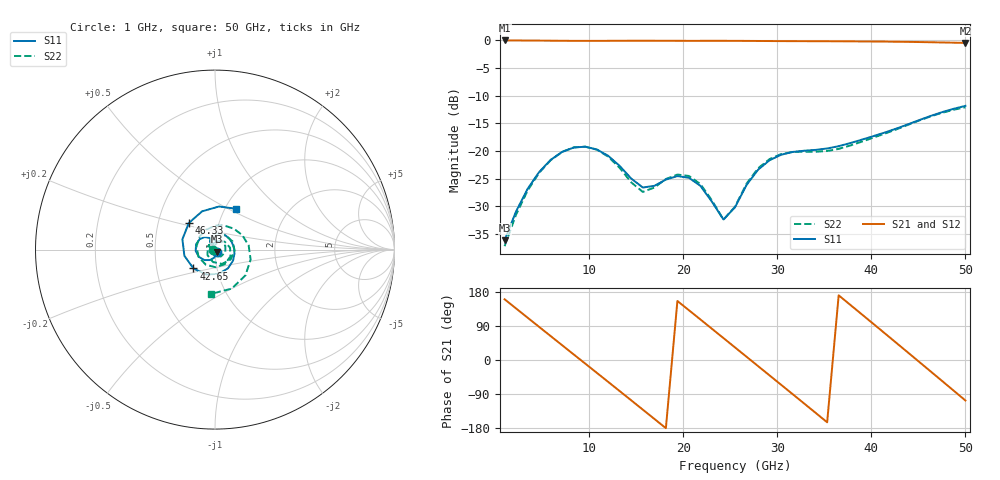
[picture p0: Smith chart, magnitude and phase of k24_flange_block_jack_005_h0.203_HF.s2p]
! Generated by Hertzon (EMerge FEM)
# HZ S RI R 50.9339
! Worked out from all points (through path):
!   41 points, 1 GHz to 50 GHz, reference 50.9339 ohm
!   highest |S21| = -0.01 dB at 1 GHz (marker M1); lowest = -0.5 dB at 50 GHz (marker M2)
!   lowest |S11| = -36.1 dB at 1 GHz (marker M3), VSWR 1.03, Z = 52.1 - j1.14 ohm
!   |S11| at or under -10 dB: start of sweep to end of sweep
!   |S22| runs from -37.2 to -12.1 dB; largest |S21 - S12| = 0.0037
!   S11 on the Smith chart (normalised r, x): 1 GHz: 1.02, -0.02; 42.65 GHz: 0.77, -0.17; 46.33 GHz: 0.72, +0.22; 50 GHz: 1.13, +0.55
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1e9  0.0113 -0.0109  -0.9392 0.3386  -0.939 0.3395  -0.0136 -0.0024
4.675e9  -0.0281 -0.0583  0.0467 0.9943  0.0479 0.994  -0.0221 0.0597
7.125e9  -0.0896 -0.0407  0.7724 0.6217  0.7733 0.6208  0.0587 0.0789
9.575e9  -0.1056 0.0289  0.9759 -0.1641  0.9758 -0.1654  0.1095 -0.00577
1.325e10  -0.0327 0.0656  0.1328 -0.9829  0.1315 -0.9831  -0.0115 -0.0693
1.57e10  -0.0207 0.042  -0.652 -0.7485  -0.6531 -0.7476  -0.0398 0.0157
1.815e10  -0.0268 0.0483  -0.9915 -0.00236  -0.9915 -0.000838  0.0311 0.0465
2.1825e10  0.00703 0.048  -0.2875 0.9481  -0.2859 0.9486  0.0327 -0.0383
2.4275e10  -0.00114 0.0241  0.5279 0.8386  0.5294 0.8376  -0.0222 -0.00914
2.55e10  -0.0159 0.0267  0.8286 0.5424  0.8296 0.5408  -0.0173 0.0262
2.795e10  -0.0207 0.0646  0.9492 -0.2729  0.9486 -0.2748  0.054 0.0443
3.04e10  0.0264 0.0888  0.4111 -0.8949  0.4092 -0.8958  0.0861 -0.0375
3.1625e10  0.0551 0.0813  -0.000174 -0.9839  -0.00238 -0.9839  0.0563 -0.0803
3.4075e10  0.0945 0.0397  -0.7477 -0.6377  -0.7492 -0.6359  -0.0512 -0.0843
3.6525e10  0.1086 -0.0219  -0.9681 0.1586  -0.9677 0.1611  -0.1035 0.0156
3.8975e10  0.0728 -0.1037  -0.4997 0.8411  -0.4974 0.8425  -0.0494 0.111
4.02e10  0.0214 -0.1346  -0.0961 0.972  -0.0933 0.9722  5.99e-05 0.1321
4.265e10  -0.1199 -0.1052  0.6837 0.6914  0.6859 0.6892  0.105 0.1167
4.51e10  -0.1815 0.058  0.9618 -0.0881  0.9616 -0.0913  0.1875 0.023
4.6325e10  -0.1458 0.1483  0.8281 -0.4891  0.8265 -0.492  0.1985 -0.0552
4.8775e10  0.0226 0.2402  0.1437 -0.9422  0.1401 -0.9428  0.0935 -0.2173
5e10  0.1176 0.2275  -0.274 -0.9084  -0.2775 -0.9073  -0.0248 -0.2476
